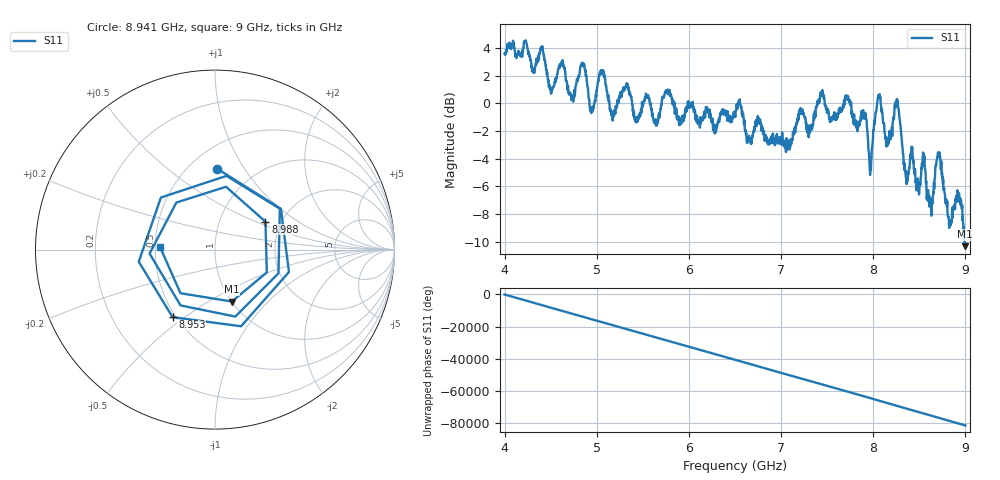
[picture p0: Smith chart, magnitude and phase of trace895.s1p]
! Created with skrf 1.8.0 (http://scikit-rf.org).
# Hz S RI R 50.0
!freq ReS11 ImS11
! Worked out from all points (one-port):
!   1601 points, 4 GHz to 9 GHz, reference 50 ohm
!   lowest |S11| = -10.3 dB at 8.994 GHz (marker M1), VSWR 1.87, Z = 50.2 - j32 ohm
!   |S11| at or under -10 dB: 8.990632 GHz to end of sweep
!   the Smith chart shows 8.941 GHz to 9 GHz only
!   S11 on the Smith chart (normalised r, x): 8.941 GHz: 0.67, +0.76; 8.953 GHz: 0.48, -0.45; 8.988 GHz: 1.66, +0.58; 9 GHz: 0.53, +0.02
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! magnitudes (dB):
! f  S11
! 4 GHz  3.6
! 4.403 GHz  4.1
! 4.506 GHz  0.7
! 4.625 GHz  3.1
! 4.731 GHz  0.3
! 4.853 GHz  2.7
! 4.947 GHz  -0.3
! 5.05 GHz  2.2
! 5.166 GHz  -0.6
! 5.25 GHz  0.6
! 5.875 GHz  -1.2
! 6.5 GHz  -0.8
! 7.125 GHz  -2.6
! 7.75 GHz  -0.1
! 7.969 GHz  -4.7
! 8.053 GHz  0.5
! 8.156 GHz  -3.1
! 8.256 GHz  0.3
! 8.375 GHz  -5.5
! 8.544 GHz  -4.0
! 8.625 GHz  -7.4
! 8.712 GHz  -3.6
! 8.828 GHz  -8.5
! 8.941 GHz  -6.9
! 8.953 GHz  -7.0
! 8.988 GHz  -9.9
! 8.994 GHz  -10.3
! 9 GHz  -10.3
